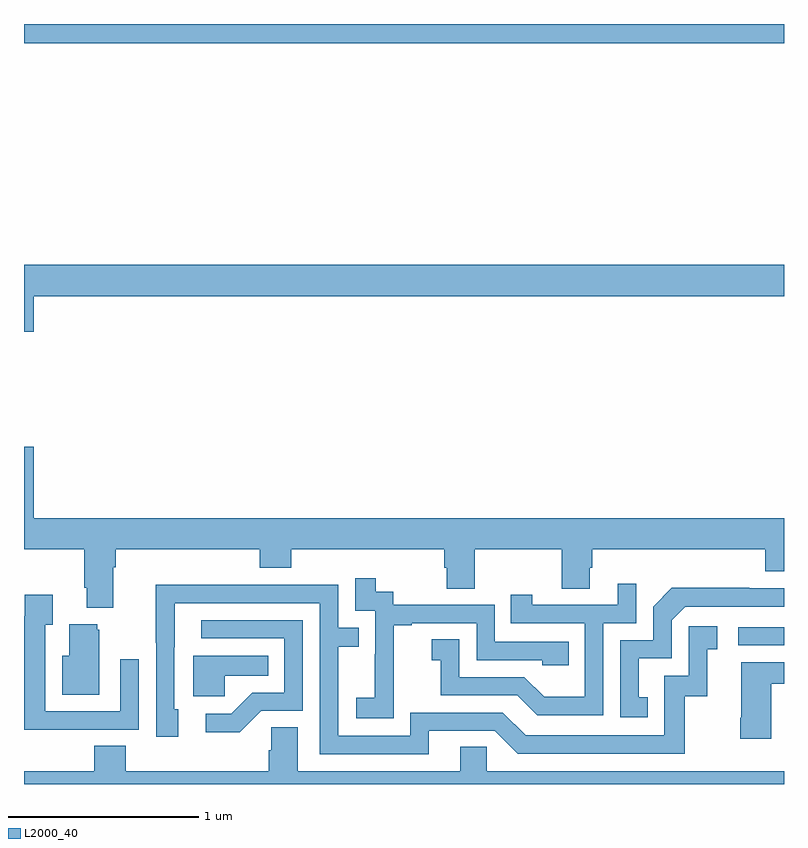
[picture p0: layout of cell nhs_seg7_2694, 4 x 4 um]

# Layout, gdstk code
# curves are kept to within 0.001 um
import gdstk
lib = gdstk.Library(unit=1e-6, precision=1e-09)
def R(c, l, rs):  # rectangles x0, y0, x1, y1
    for r in rs: c.add(gdstk.rectangle(r[:2], r[2:], *l))
def P(c, l, *ps):  # polygons
    for p in ps: c.add(gdstk.Polygon(p, *l))
L2000_40 = (2000, 40)

nhs_seg7_2694 = lib.new_cell('nhs_seg7_2694')
R(nhs_seg7_2694, L2000_40, [(288.759,1046.73,289,1046.826), (285,1049.9,289,1050)])
P(nhs_seg7_2694, L2000_40, [(285.052,1048.568),(289,1048.568),(289,1048.732),(285,1048.732),(285,1048.38),(285.052,1048.38)],
  [(285.469,1047.14),(285.482,1047.14),(285.482,1047.236),(286.241,1047.236),(286.241,1047.137),(286.406,1047.137),(286.406,1047.236),(287.213,1047.236),(287.213,1047.138),(287.225,1047.138),(287.225,1047.028),(287.373,1047.028),(287.373,1047.236),(287.83,1047.236),(287.83,1047.028),(287.977,1047.028),(287.977,1047.138),(287.99,1047.138),(287.99,1047.236),(288.902,1047.236),(288.902,1047.119),(289,1047.119),(289,1047.4),(285.052,1047.4),(285.052,1047.775),(285,1047.775),(285,1047.236),(285.317,1047.236),(285.317,1047.034),(285.329,1047.034),(285.329,1046.927),(285.469,1046.927)],
  [(286.947,1046.551),(286.946,1046.551),(286.946,1046.835),(287.041,1046.835),(287.041,1046.847),(287.382,1046.847),(287.382,1046.652),(287.727,1046.652),(287.727,1046.625),(287.867,1046.625),(287.867,1046.748),(287.478,1046.748),(287.478,1046.943),(286.944,1046.943),(286.944,1047.012),(286.852,1047.012),(286.852,1047.082),(286.743,1047.082),(286.743,1046.913),(286.848,1046.913),(286.848,1046.684),(286.847,1046.684),(286.847,1046.455),(286.749,1046.455),(286.749,1046.345),(286.947,1046.345)],
  [(288.048,1046.847),(288.222,1046.847),(288.222,1047.055),(288.125,1047.055),(288.125,1046.943),(287.674,1046.943),(287.674,1046.995),(287.563,1046.995),(287.563,1046.847),(287.952,1046.847),(287.952,1046.458),(287.738,1046.458),(287.634,1046.562),(287.292,1046.562),(287.292,1046.761),(287.145,1046.761),(287.145,1046.651),(287.194,1046.651),(287.194,1046.466),(287.597,1046.466),(287.702,1046.361),(288.048,1046.361)],
  [(287.131,1046.28),(287.478,1046.28),(287.598,1046.16),(288.478,1046.16),(288.478,1046.463),(288.596,1046.463),(288.596,1046.709),(288.649,1046.709),(288.649,1046.83),(288.498,1046.83),(288.498,1046.571),(288.369,1046.571),(288.369,1046.256),(287.64,1046.256),(287.52,1046.376),(287.034,1046.376),(287.034,1046.253),(286.653,1046.253),(286.653,1046.722),(286.763,1046.722),(286.763,1046.823),(286.653,1046.823),(286.653,1047.048),(286.157,1047.048),(286.157,1047.05),(285.694,1047.05),(285.694,1046.743),(285.696,1046.743),(285.696,1046.25),(285.811,1046.25),(285.811,1046.394),(285.792,1046.394),(285.793,1046.952),(286.557,1046.952),(286.557,1046.157),(287.131,1046.157)],
  [(288.284,1046.457),(288.235,1046.457),(288.235,1046.661),(288.408,1046.661),(288.408,1046.862),(288.48,1046.934),(289,1046.934),(289,1047.03),(288.818,1047.03),(288.818,1047.032),(288.41,1047.032),(288.312,1046.934),(288.312,1046.757),(288.138,1046.757),(288.138,1046.352),(288.284,1046.352)],
  [(285.287,1046.286),(285.603,1046.286),(285.603,1046.656),(285.507,1046.656),(285.507,1046.382),(285.111,1046.382),(285.111,1046.839),(285.151,1046.839),(285.151,1046.995),(285.003,1046.995),(285.003,1046.882),(285,1046.882),(285,1046.285),(285.287,1046.285)],
  [(286.248,1046.385),(286.467,1046.385),(286.467,1046.862),(285.933,1046.862),(285.933,1046.766),(286.371,1046.766),(286.371,1046.481),(286.202,1046.481),(286.091,1046.37),(285.957,1046.37),(285.957,1046.273),(286.135,1046.273)],
  [(285.397,1046.811),(285.386,1046.811),(285.386,1046.842),(285.239,1046.842),(285.239,1046.674),(285.2,1046.674),(285.2,1046.471),(285.397,1046.471)],
  [(286.056,1046.57),(286.286,1046.57),(286.286,1046.674),(285.89,1046.674),(285.89,1046.462),(286.056,1046.462)],
  [(288.934,1046.527),(289,1046.527),(289,1046.641),(288.776,1046.641),(288.776,1046.35),(288.769,1046.35),(288.769,1046.238),(288.934,1046.238)],
  [(289,1046.068),(287.436,1046.068),(287.436,1046.195),(287.297,1046.195),(287.297,1046.068),(286.441,1046.068),(286.441,1046.3),(286.302,1046.3),(286.302,1046.177),(286.289,1046.177),(286.289,1046.068),(285.536,1046.068),(285.536,1046.201),(285.371,1046.201),(285.371,1046.068),(285,1046.068),(285,1046),(289,1046)])

lib.write_gds('nhs_seg7_2694.gds')
